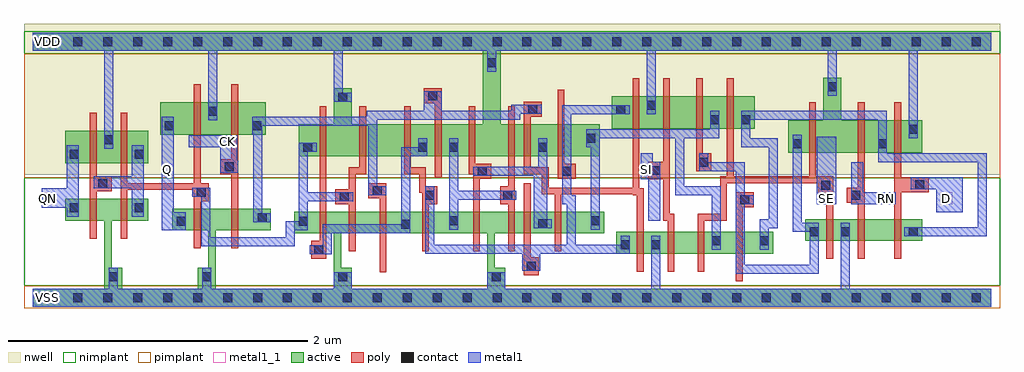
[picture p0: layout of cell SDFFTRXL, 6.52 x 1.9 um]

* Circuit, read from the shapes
.subckt SDFFTRXL CK D Q QN RN SE SI VDD VSS
M1 VSS n1 QN VSS nfet w=0.145u l=0.045u
M2 n1 n2 VSS VSS nfet w=0.145u l=0.045u
M3 VSS n2 Q VSS nfet w=0.145u l=0.045u
M4 n3 CK VSS VSS nfet w=0.145u l=0.045u
M5 VSS n4 n2 VSS nfet w=0.145u l=0.045u
M6 n5 n2 VSS VSS nfet w=0.145u l=0.045u
M7 n4 n3 n5 VSS nfet w=0.145u l=0.045u
M8 n6 n7 n4 VSS nfet w=0.145u l=0.045u
M9 VSS n8 n6 VSS nfet w=0.145u l=0.045u
M10 n9 n6 VSS VSS nfet w=0.145u l=0.045u
M11 n8 n7 n9 VSS nfet w=0.145u l=0.045u
M12 n10 n3 n8 VSS nfet w=0.145u l=0.045u
M13 VSS n3 n7 VSS nfet w=0.145u l=0.045u
M14 n11 SI VSS VSS nfet w=0.145u l=0.045u
M15 n10 SE n11 VSS nfet w=0.145u l=0.045u
M16 n12 n13 n10 VSS nfet w=0.145u l=0.045u
M17 VSS SE n13 VSS nfet w=0.145u l=0.045u
M18 n14 RN VSS VSS nfet w=0.145u l=0.045u
M19 n12 D n14 VSS nfet w=0.145u l=0.045u
M20 VDD n1 QN VDD pfet w=0.215u l=0.045u
M21 n1 n2 VDD VDD pfet w=0.215u l=0.045u
M22 VDD n2 Q VDD pfet w=0.215u l=0.045u
M23 n3 CK VDD VDD pfet w=0.215u l=0.045u
M24 VDD n4 n2 VDD pfet w=0.215u l=0.045u
M25 n15 n2 VDD VDD pfet w=0.215u l=0.045u
M26 n4 n7 n15 VDD pfet w=0.215u l=0.045u
M27 n6 n3 n4 VDD pfet w=0.215u l=0.045u
M28 VDD n8 n6 VDD pfet w=0.215u l=0.045u
M29 n16 n6 VDD VDD pfet w=0.215u l=0.045u
M30 n8 n3 n16 VDD pfet w=0.215u l=0.045u
M31 n10 n7 n8 VDD pfet w=0.215u l=0.045u
M32 VDD n3 n7 VDD pfet w=0.215u l=0.045u
M33 n17 SI VDD VDD pfet w=0.215u l=0.045u
M34 n10 n13 n17 VDD pfet w=0.215u l=0.045u
M35 n12 SE n10 VDD pfet w=0.215u l=0.045u
M36 VDD SE n13 VDD pfet w=0.215u l=0.045u
M37 n12 RN VDD VDD pfet w=0.215u l=0.045u
M38 VDD D n12 VDD pfet w=0.215u l=0.045u
.ends

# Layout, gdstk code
import gdstk
lib = gdstk.Library(unit=1e-6, precision=5e-10)
def R(c, l, rs):  # rectangles x0, y0, x1, y1
    for r in rs: c.add(gdstk.rectangle(r[:2], r[2:], *l))
def A(c, l, x, y, w, h, nx, ny, dx, dy):  # array of equal rectangles
    R(c, l, [(x+i*dx, y+j*dy, x+i*dx+w, y+j*dy+h) for i in range(nx) for j in range(ny)])
def P(c, l, *ps):  # polygons
    for p in ps: c.add(gdstk.Polygon(p, *l))
active = (1, 0)
nwell = (2, 0)
poly = (3, 0)
nimplant = (4, 0)
pimplant = (5, 0)
contact = (6, 0)
metal1 = (7, 0)
metal1_1 = (7, 1)

sdfftrxl = lib.new_cell('SDFFTRXL')
R(sdfftrxl, active, [(3.895,0.295,4.945,0.44), (5.16,0.38,5.94,0.525), (0.215,0.9,0.77,1.115), (0.85,1.09,1.555,1.305), (3.865,1.13,4.82,1.345)])
P(sdfftrxl, active, [(0,1.77),(6.4,1.77),(6.4,1.65),(3.125,1.65),(3.125,1.16),(3.785,1.16),(3.785,0.945),(1.775,0.945),(1.775,1.16),(2.01,1.16),(2.01,1.4),(2.13,1.4),(2.13,1.16),(3.005,1.16),(3.005,1.65),(0,1.65)],
  [(5.28,1.47),(5.4,1.47),(5.4,1.185),(5.94,1.185),(5.94,0.97),(5.045,0.97),(5.045,1.185),(5.28,1.185)],
  [(0.215,0.66),(0.77,0.66),(0.77,0.515),(0.525,0.515),(0.525,0.2),(0.595,0.2),(0.595,0.06),(1.1,0.06),(1.1,0.2),(1.17,0.2),(1.17,0.45),(0.93,0.45),(0.93,0.595),(1.59,0.595),(1.59,0.45),(1.22,0.45),(1.22,0.06),(2.01,0.06),(2.01,0.43),(2.06,0.43),(2.06,0.2),(2.13,0.2),(2.13,0.06),(3.035,0.06),(3.035,0.43),(1.745,0.43),(1.745,0.575),(3.815,0.575),(3.815,0.43),(3.085,0.43),(3.085,0.2),(3.155,0.2),(3.155,0.06),(6.4,0.06),(6.4,-0.06),(0,-0.06),(0,0.06),(0.475,0.06),(0.475,0.515),(0.215,0.515)])
R(sdfftrxl, nwell, [(-0.06,0.82,6.46,1.83)])
P(sdfftrxl, poly, [(0.585,1.235),(0.63,1.235),(0.63,0.765),(1.075,0.765),(1.075,1.425),(1.12,1.425),(1.12,0.765),(1.175,0.765),(1.175,0.645),(1.12,0.645),(1.12,0.33),(1.075,0.33),(1.075,0.72),(0.63,0.72),(0.63,0.395),(0.585,0.395)],
  [(1.325,1.425),(1.37,1.425),(1.37,0.33),(1.325,0.33),(1.325,0.825),(1.25,0.825),(1.25,0.925),(1.325,0.925)],
  [(2.61,1.4),(2.73,1.4),(2.73,0.805),(2.685,0.805),(2.685,1.3),(2.61,1.3)],
  [(0.38,1.235),(0.425,1.235),(0.425,0.81),(0.525,0.81),(0.525,0.71),(0.425,0.71),(0.425,0.395),(0.38,0.395)],
  [(1.915,1.28),(1.96,1.28),(1.96,0.26),(1.86,0.26),(1.86,0.38),(1.915,0.38)],
  [(2.18,1.28),(2.225,1.28),(2.225,0.825),(2.155,0.825),(2.155,0.31),(2.11,0.31),(2.11,0.625),(2.02,0.625),(2.02,0.725),(2.11,0.725),(2.11,0.87),(2.18,0.87)],
  [(2.48,1.28),(2.525,1.28),(2.525,0.87),(2.625,0.87),(2.625,0.745),(2.7,0.745),(2.7,0.625),(2.645,0.625),(2.645,0.31),(2.6,0.31),(2.6,0.7),(2.58,0.7),(2.58,0.825),(2.48,0.825)],
  [(2.91,1.28),(2.955,1.28),(2.955,0.895),(3.06,0.895),(3.06,0.795),(2.985,0.795),(2.985,0.31),(2.94,0.31),(2.94,0.825),(2.91,0.825)],
  [(3.28,1.31),(3.4,1.31),(3.4,1.21),(3.325,1.21),(3.325,0.87),(3.445,0.87),(3.445,0.735),(4.005,0.735),(4.005,1.465),(4.05,1.465),(4.05,0.73),(4.08,0.73),(4.08,0.175),(4.035,0.175),(4.035,0.685),(4.005,0.685),(4.005,0.69),(3.53,0.69),(3.53,0.31),(3.485,0.31),(3.485,0.69),(3.4,0.69),(3.4,0.825),(3.28,0.825)],
  [(3.175,1.28),(3.22,1.28),(3.22,0.31),(3.175,0.31),(3.175,0.625),(3.12,0.625),(3.12,0.745),(3.175,0.745)],
  [(3.505,1.39),(3.55,1.39),(3.55,0.895),(3.625,0.895),(3.625,0.795),(3.505,0.795)],
  [(4.21,1.465),(4.255,1.465),(4.255,0.56),(4.285,0.56),(4.285,0.175),(4.24,0.175),(4.24,0.515),(4.21,0.515),(4.21,0.79),(4.11,0.79),(4.11,0.91),(4.21,0.91)],
  [(4.43,1.465),(4.475,1.465),(4.475,0.965),(4.53,0.965),(4.53,0.845),(4.43,0.845)],
  [(4.635,1.465),(4.68,1.465),(4.68,0.81),(5.185,0.81),(5.185,1.305),(5.23,1.305),(5.23,0.81),(5.345,0.81),(5.345,0.26),(5.3,0.26),(5.3,0.69),(5.245,0.69),(5.245,0.765),(4.635,0.765),(4.635,0.515),(4.485,0.515),(4.485,0.175),(4.44,0.175),(4.44,0.56),(4.59,0.56),(4.59,0.81),(4.635,0.81)],
  [(5.51,1.305),(5.555,1.305),(5.555,0.26),(5.51,0.26),(5.51,0.635),(5.435,0.635),(5.435,0.735),(5.51,0.735)],
  [(5.755,1.305),(5.8,1.305),(5.8,0.805),(5.985,0.805),(5.985,0.705),(5.8,0.705),(5.8,0.26),(5.755,0.26)],
  [(2.24,0.765),(2.36,0.765),(2.36,0.17),(2.315,0.17),(2.315,0.665),(2.24,0.665)],
  [(3.28,0.765),(3.325,0.765),(3.325,0.27),(3.38,0.27),(3.38,0.15),(3.28,0.15)],
  [(4.695,0.705),(4.815,0.705),(4.815,0.605),(4.74,0.605),(4.74,0.11),(4.695,0.11)])
R(sdfftrxl, nimplant, [(-0.06,0.08,6.46,0.8), (-0.06,1.63,6.46,1.78)])
R(sdfftrxl, pimplant, [(-0.06,-0.07,6.46,0.08), (-0.06,0.8,6.46,1.63)])
A(sdfftrxl, contact, 0.07, -0.03, 0.06, 0.06, 32, 2, 0.2, 1.71)
R(sdfftrxl, contact, [(0.505,0.11,0.565,0.17), (1.13,0.11,1.19,0.17), (2.04,0.11,2.1,0.17), (3.065,0.11,3.125,0.17), (3.3,0.18,3.36,0.24), (1.88,0.29,1.94,0.35), (3.925,0.325,3.985,0.385), (4.13,0.325,4.19,0.385), (4.535,0.35,4.595,0.41), (4.855,0.35,4.915,0.41), (5.19,0.41,5.25,0.47), (5.395,0.41,5.455,0.47), (5.85,0.41,5.91,0.47), (2.46,0.46,2.52,0.52), (3.375,0.465,3.435,0.525), (0.96,0.48,1.02,0.54), (1.775,0.48,1.835,0.54), (2.78,0.485,2.84,0.545), (3.725,0.485,3.785,0.545), (1.5,0.505,1.56,0.565), (0.245,0.57,0.305,0.63), (0.68,0.57,0.74,0.63), (4.725,0.625,4.785,0.685), (2.05,0.645,2.11,0.705), (2.62,0.655,2.68,0.715), (3.14,0.655,3.2,0.715), (5.465,0.655,5.525,0.715), (1.095,0.675,1.155,0.735), (2.27,0.685,2.33,0.745), (5.265,0.72,5.325,0.78), (5.895,0.725,5.955,0.785), (0.435,0.73,0.495,0.79), (2.97,0.815,3.03,0.875), (3.535,0.815,3.595,0.875), (4.13,0.82,4.19,0.88), (1.28,0.845,1.34,0.905), (4.45,0.875,4.51,0.935), (0.245,0.93,0.305,0.99), (0.68,0.93,0.74,0.99), (1.805,0.975,1.865,1.035), (2.575,0.975,2.635,1.035), (2.78,0.975,2.84,1.035), (3.375,0.975,3.435,1.035), (5.075,1,5.135,1.06), (5.645,1,5.705,1.06), (0.475,1.025,0.535,1.085), (3.695,1.035,3.755,1.095), (5.85,1.095,5.91,1.155), (0.88,1.12,0.94,1.18), (1.465,1.12,1.525,1.18), (4.525,1.16,4.585,1.22), (4.73,1.16,4.79,1.22), (1.17,1.215,1.23,1.275), (3.895,1.225,3.955,1.285), (3.31,1.23,3.37,1.29), (4.1,1.255,4.16,1.315), (2.04,1.31,2.1,1.37), (2.64,1.32,2.7,1.38), (5.31,1.38,5.37,1.44), (3.035,1.54,3.095,1.6)])
R(sdfftrxl, metal1, [(5.235,0.625,5.365,1.075)])
P(sdfftrxl, metal1, [(0,1.77),(6.4,1.77),(6.4,1.65),(5.91,1.65),(5.91,1.065),(5.85,1.065),(5.85,1.65),(5.37,1.65),(5.37,1.35),(5.31,1.35),(5.31,1.65),(4.16,1.65),(4.16,1.225),(4.1,1.225),(4.1,1.65),(3.095,1.65),(3.095,1.51),(3.035,1.51),(3.035,1.65),(2.07,1.65),(2.07,1.37),(2.13,1.37),(2.13,1.31),(2.01,1.31),(2.01,1.65),(1.23,1.65),(1.23,1.185),(1.17,1.185),(1.17,1.65),(0.535,1.65),(0.535,0.995),(0.475,0.995),(0.475,1.65),(0,1.65)],
  [(2.61,1.38),(2.73,1.38),(2.73,1.25),(3.195,1.25),(3.195,1.29),(3.4,1.29),(3.4,1.23),(3.255,1.23),(3.255,1.19),(2.3,1.19),(2.3,0.745),(2.36,0.745),(2.36,0.685),(2.24,0.685),(2.24,1.15),(1.53,1.15),(1.53,0.565),(1.59,0.565),(1.59,0.505),(1.47,0.505),(1.47,1.09),(1.465,1.09),(1.465,1.21),(2.23,1.21),(2.23,1.25),(2.61,1.25)],
  [(0.225,1.02),(0.305,1.02),(0.305,0.54),(0.225,0.54),(0.225,0.6),(0.06,0.6),(0.06,0.73),(0.225,0.73)],
  [(0.86,1.21),(0.94,1.21),(0.94,0.57),(1.02,0.57),(1.02,0.45),(0.86,0.45)],
  [(3.535,1.285),(3.985,1.285),(3.985,1.225),(3.595,1.225),(3.595,0.685),(3.625,0.685),(3.625,0.355),(3.925,0.355),(3.925,0.415),(3.985,0.415),(3.985,0.295),(3.39,0.295),(3.39,0.18),(3.27,0.18),(3.27,0.295),(2.62,0.295),(2.62,0.745),(2.68,0.745),(2.68,0.355),(3.565,0.355),(3.565,0.625),(3.535,0.625)],
  [(0.66,1.02),(0.74,1.02),(0.74,0.54),(0.66,0.54),(0.66,0.73),(0.405,0.73),(0.405,0.81),(0.66,0.81)],
  [(1.04,1.085),(1.365,1.085),(1.365,0.915),(1.37,0.915),(1.37,0.835),(1.25,0.835),(1.25,1.005),(1.04,1.005)],
  [(1.775,1.035),(1.895,1.035),(1.895,0.975),(1.835,0.975),(1.835,0.705),(2.14,0.705),(2.14,0.645),(1.835,0.645),(1.835,0.45),(1.75,0.45),(1.75,0.345),(1.125,0.345),(1.125,0.675),(1.065,0.675),(1.065,0.735),(1.185,0.735),(1.185,0.405),(1.69,0.405),(1.69,0.51),(1.775,0.51)],
  [(2.575,1.065),(2.635,1.065),(2.635,0.945),(2.52,0.945),(2.52,0.43),(1.995,0.43),(1.995,0.29),(1.85,0.29),(1.85,0.35),(1.935,0.35),(1.935,0.49),(2.46,0.49),(2.46,1.005),(2.575,1.005)],
  [(2.78,1.065),(2.84,1.065),(2.84,0.715),(3.23,0.715),(3.23,0.655),(2.84,0.655),(2.84,0.455),(2.78,0.455)],
  [(3.375,1.065),(3.435,1.065),(3.435,0.525),(3.465,0.525),(3.465,0.465),(3.345,0.465),(3.345,0.815),(2.94,0.815),(2.94,0.875),(3.375,0.875)],
  [(4.525,1.25),(4.585,1.25),(4.585,1.065),(4.35,1.065),(4.35,0.745),(4.595,0.745),(4.595,0.32),(4.535,0.32),(4.535,0.685),(4.29,0.685),(4.29,1.065),(3.785,1.065),(3.785,0.455),(3.725,0.455),(3.725,1.005),(3.695,1.005),(3.695,1.125),(4.525,1.125)],
  [(4.73,1.25),(5.705,1.25),(5.705,0.965),(6.37,0.965),(6.37,0.41),(5.82,0.41),(5.82,0.47),(6.31,0.47),(6.31,0.905),(5.645,0.905),(5.645,1.19),(4.79,1.19),(4.79,1.065),(4.975,1.065),(4.975,0.465),(4.915,0.465),(4.915,0.32),(4.855,0.32),(4.855,0.525),(4.915,0.525),(4.915,1.005),(4.73,1.005)],
  [(4.06,0.965),(4.14,0.965),(4.14,0.91),(4.19,0.91),(4.19,0.515),(4.11,0.515),(4.11,0.79),(4.06,0.79)],
  [(4.45,0.965),(4.51,0.965),(4.51,0.905),(4.755,0.905),(4.755,0.685),(4.815,0.685),(4.815,0.625),(4.755,0.625),(4.755,0.22),(5.19,0.22),(5.19,0.44),(5.075,0.44),(5.075,1.09),(5.135,1.09),(5.135,0.5),(5.25,0.5),(5.25,0.16),(4.695,0.16),(4.695,0.845),(4.45,0.845)],
  [(0.505,0.2),(0.565,0.2),(0.565,0.06),(1.13,0.06),(1.13,0.2),(1.19,0.2),(1.19,0.06),(2.01,0.06),(2.01,0.17),(2.13,0.17),(2.13,0.06),(3.035,0.06),(3.035,0.17),(3.155,0.17),(3.155,0.06),(4.13,0.06),(4.13,0.415),(4.19,0.415),(4.19,0.06),(5.395,0.06),(5.395,0.5),(5.455,0.5),(5.455,0.06),(6.4,0.06),(6.4,-0.06),(0,-0.06),(0,0.06),(0.505,0.06)],
  [(5.465,0.905),(5.545,0.905),(5.545,0.705),(5.765,0.705),(5.765,0.625),(5.465,0.625)],
  [(5.865,0.805),(6.21,0.805),(6.21,0.57),(6.035,0.57),(6.035,0.725),(5.865,0.725)])
A(sdfftrxl, metal1_1, 5.26, 0.625, 0.08, 0.08, 3, 1, 0.4, 0)
R(sdfftrxl, metal1_1, [(0.06,-0.04,0.14,0.04), (0.06,0.625,0.14,0.705), (0.86,0.815,0.94,0.895), (4.06,0.815,4.14,0.895), (1.26,1.005,1.34,1.085), (0.06,1.67,0.14,1.75)])
sdfftrxl.add(gdstk.Label('Q', (0.9,0.855), layer=7, texttype=1))
sdfftrxl.add(gdstk.Label('QN', (0.1,0.665), layer=7, texttype=1))
sdfftrxl.add(gdstk.Label('D', (6.1,0.665), layer=7, texttype=1))
sdfftrxl.add(gdstk.Label('RN', (5.7,0.665), layer=7, texttype=1))
sdfftrxl.add(gdstk.Label('SE', (5.3,0.665), layer=7, texttype=1))
sdfftrxl.add(gdstk.Label('SI', (4.1,0.855), layer=7, texttype=1))
sdfftrxl.add(gdstk.Label('CK', (1.3,1.045), layer=7, texttype=1))
sdfftrxl.add(gdstk.Label('VDD', (0.1,1.71), layer=7, texttype=1))
sdfftrxl.add(gdstk.Label('VSS', (0.1,0), layer=7, texttype=1))
sdfftrxl.add(gdstk.Label('SDFFTRXL', (0,0), layer=63, texttype=0))

lib.write_gds('SDFFTRXL.gds')
